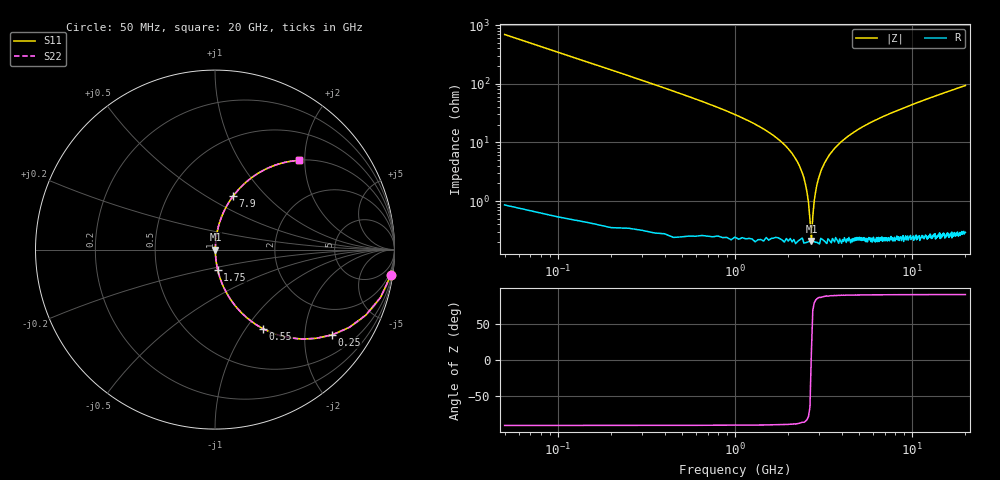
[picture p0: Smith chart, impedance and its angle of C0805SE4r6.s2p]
! AVX Thin Film Operation		Date: April 2012
! Description: Accu-P® Series, Thin Film, SMD, RF Capacitor
! Part Number: 08051J4R6ABTTR
!	50	MHz	-	20.05	GHz
!	Serial	Measurements
#	MHZ	S	MA	R	50
!	S11	S21	S12	S22
!	dB	Phase	dB	Phase	dB	Phase	dB	Phase
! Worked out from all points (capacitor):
!   400 points, 50 MHz to 20 GHz, reference 50 ohm
!   read as one part in series: C = 4.6 pF near 150 MHz
!   lowest |Z| = 210 mohm at 2.7 GHz (marker M1)
!   series resonance near 2.696 GHz, so ESL is about 760 pH
!   S11 on the Smith chart (normalised r, x): 50 MHz: 1, -14; 250 MHz: 1.01, -2.74; 550 MHz: 1.01, -1.20; 1.75 GHz: 1.00, -0.23; 7.9 GHz: 1.00, +0.67; 20 GHz: 1.01, +1.87
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50  0.99 -8.2  0.143 81.7  0.143 81.7  0.99 -8.2
150  0.916 -23.5  0.399 66.4  0.399 66.4  0.916 -23.5
250  0.807 -36.0  0.588 53.8  0.588 53.8  0.807 -36.0
550  0.515 -58.7  0.855 31.0  0.855 31.0  0.515 -58.7
950  0.303 -71.9  0.951 17.7  0.951 17.7  0.303 -71.9
1750  0.113 -82.4  0.991 6.5  0.991 6.5  0.113 -82.4
2100  0.065 -84.4  0.996 3.7  0.996 3.7  0.065 -84.4
2450  0.025 -83.7  0.998 1.4  0.998 1.4  0.025 -83.7
2600  0.009519 -76.6  0.998 0.5  0.998 0.5  0.009519 -76.6
2700  0.002148 10.3  0.998 -0.0  0.998 -0.0  0.002148 10.3
2750  0.005508 67.2  0.998 -0.3  0.998 -0.3  0.005508 67.2
2800  0.00993 77.2  0.998 -0.6  0.998 -0.6  0.00993 77.2
2900  0.019 82.5  0.998 -1.1  0.998 -1.1  0.019 82.5
3100  0.036 84.6  0.997 -2.1  0.997 -2.1  0.036 84.6
3400  0.06 84.5  0.996 -3.4  0.996 -3.4  0.06 84.5
4500  0.136 81.3  0.989 -7.8  0.989 -7.8  0.136 81.3
6700  0.258 74.6  0.964 -14.9  0.964 -14.9  0.258 74.6
7900  0.315 71.3  0.947 -18.3  0.947 -18.3  0.315 71.3
10050  0.405 65.8  0.912 -23.9  0.912 -23.9  0.405 65.8
13350  0.52 58.5  0.852 -31.3  0.852 -31.3  0.52 58.5
16700  0.611 52.1  0.789 -37.7  0.789 -37.7  0.611 52.1
20000  0.682 46.8  0.729 -43.0  0.729 -43.0  0.682 46.8
